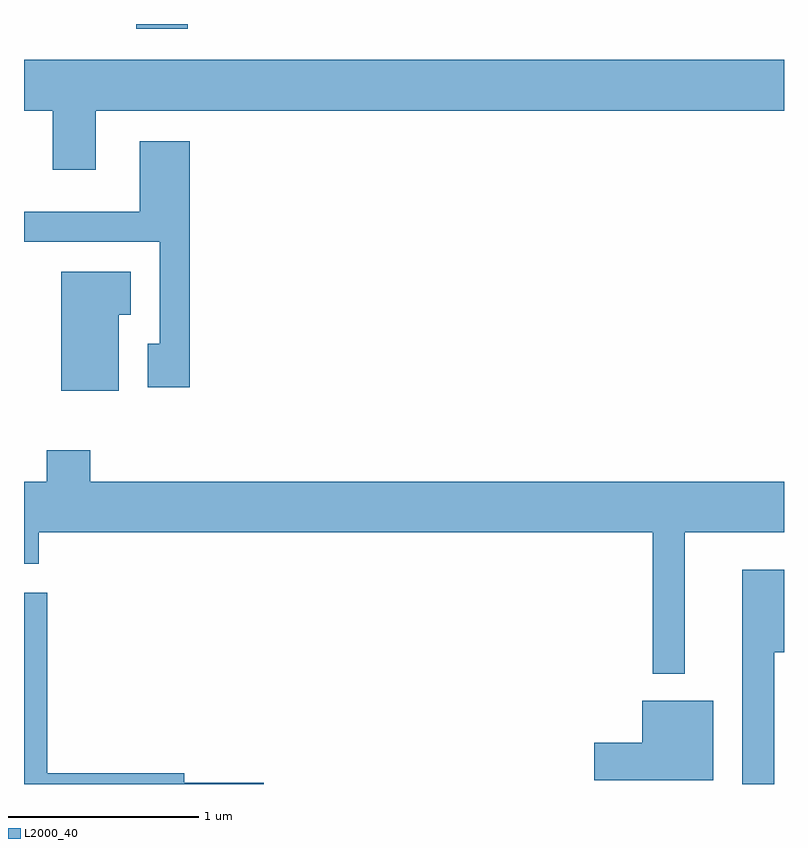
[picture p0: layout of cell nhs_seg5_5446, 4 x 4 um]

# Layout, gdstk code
import gdstk
lib = gdstk.Library(unit=1e-6, precision=1e-09)
def R(c, l, rs):  # rectangles x0, y0, x1, y1
    for r in rs: c.add(gdstk.rectangle(r[:2], r[2:], *l))
def P(c, l, *ps):  # polygons
    for p in ps: c.add(gdstk.Polygon(p, *l))
L2000_40 = (2000, 40)

nhs_seg5_5446 = lib.new_cell('nhs_seg5_5446')
R(nhs_seg5_5446, L2000_40, [(346.201,1526.046,346.474,1526.072)])
P(nhs_seg5_5446, L2000_40, [(345.989,1525.616),(349.611,1525.616),(349.611,1525.884),(345.611,1525.884),(345.611,1525.616),(345.761,1525.616),(345.761,1525.306),(345.989,1525.306)],
  [(346.484,1525.454),(346.221,1525.454),(346.221,1525.084),(345.611,1525.084),(345.611,1524.926),(346.326,1524.926),(346.326,1524.389),(346.261,1524.389),(346.261,1524.161),(346.484,1524.161)],
  [(346.109,1524.541),(346.174,1524.541),(346.174,1524.769),(345.806,1524.769),(345.806,1524.141),(346.109,1524.141)],
  [(349.089,1523.396),(349.611,1523.396),(349.611,1523.664),(345.959,1523.664),(345.959,1523.829),(345.731,1523.829),(345.731,1523.664),(345.611,1523.664),(345.611,1523.231),(345.689,1523.231),(345.689,1523.396),(348.921,1523.396),(348.921,1522.653),(349.089,1522.653)],
  [(349.559,1522.766),(349.611,1522.766),(349.611,1523.199),(349.391,1523.199),(349.391,1522.072),(349.559,1522.072)],
  [(346.874,1522.079),(346.454,1522.079),(346.454,1522.129),(345.734,1522.129),(345.734,1523.079),(345.611,1523.079),(345.611,1522.072),(346.874,1522.072)],
  [(349.239,1522.509),(348.866,1522.509),(348.866,1522.289),(348.611,1522.289),(348.611,1522.091),(349.239,1522.091)])

lib.write_gds('nhs_seg5_5446.gds')
